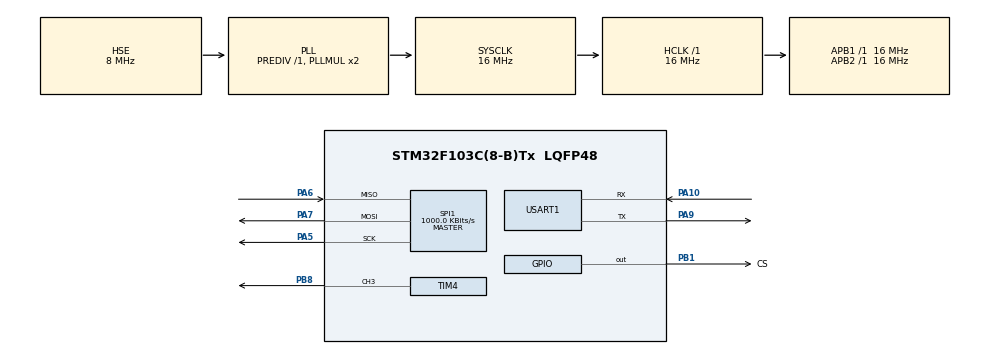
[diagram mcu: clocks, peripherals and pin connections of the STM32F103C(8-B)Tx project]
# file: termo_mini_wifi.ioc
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Mcu.Family=STM32F1
Mcu.Name=STM32F103C(8-B)Tx
Mcu.Package=LQFP48
NVIC.PriorityGroup=NVIC_PRIORITYGROUP_4
NVIC.USART1_IRQn=true\:0\:0\:false\:false\:true\:true\:true\:true
PA10.Mode=Asynchronous
PA10.Signal=USART1_RX
PA13.Mode=Serial_Wire
PA13.Signal=SYS_JTMS-SWDIO
PA14.Mode=Serial_Wire
PA14.Signal=SYS_JTCK-SWCLK
PA5.Mode=Full_Duplex_Master
PA5.Signal=SPI1_SCK
PA6.Mode=Full_Duplex_Master
PA6.Signal=SPI1_MISO
PA7.Mode=Full_Duplex_Master
PA7.Signal=SPI1_MOSI
PA9.Mode=Asynchronous
PA9.Signal=USART1_TX
PB1.GPIO_Label=CS
PB1.GPIO_Speed=GPIO_SPEED_FREQ_HIGH
PB1.PinState=GPIO_PIN_SET
PB1.Signal=GPIO_Output
PB8.Signal=S_TIM4_CH3
PD0-OSC_IN.Mode=HSE-External-Oscillator
PD0-OSC_IN.Signal=RCC_OSC_IN
PD1-OSC_OUT.Mode=HSE-External-Oscillator
PD1-OSC_OUT.Signal=RCC_OSC_OUT
ProjectManager.HeapSize=0x200
ProjectManager.StackSize=0x400
ProjectManager.TargetToolchain=STM32CubeIDE
RCC.AHBFreq_Value=16000000
RCC.APB1Freq_Value=16000000
RCC.APB1TimFreq_Value=16000000
RCC.APB2Freq_Value=16000000
RCC.APB2TimFreq_Value=16000000
RCC.EnbaleCSS=true
RCC.HCLKFreq_Value=16000000
RCC.PLLSourceVirtual=RCC_PLLSOURCE_HSE
RCC.SYSCLKFreq_VALUE=16000000
RCC.SYSCLKSource=RCC_SYSCLKSOURCE_PLLCLK
RCC.USBFreq_Value=16000000
SH.S_TIM4_CH3.0=TIM4_CH3,PWM Generation3 CH3
SPI1.BaudRatePrescaler=SPI_BAUDRATEPRESCALER_16
SPI1.CLKPhase=SPI_PHASE_2EDGE
SPI1.CalculateBaudRate=1000.0 KBits/s
SPI1.Direction=SPI_DIRECTION_2LINES
SPI1.Mode=SPI_MODE_MASTER
SPI1.VirtualType=VM_MASTER
TIM4.AutoReloadPreload=TIM_AUTORELOAD_PRELOAD_ENABLE
TIM4.Channel-PWM\ Generation3\ CH3=TIM_CHANNEL_3
TIM4.Period=4800-1
USART1.VirtualMode=VM_ASYNC
VP_TIM4_VS_ClockSourceINT.Mode=Internal
board=custom

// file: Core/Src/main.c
/* USER CODE BEGIN Header */
/**
 ******************************************************************************
 * @file           : main.c
 * @brief          : Main program body
 ******************************************************************************
 * @attention
 *
 * Copyright (c) 2026 STMicroelectronics.
 * All rights reserved.
 *
 * This software is licensed under terms that can be found in the LICENSE file
 * in the root directory of this software component.
 * If no LICENSE file comes with this software, it is provided AS-IS.
 *
 ******************************************************************************
 */
/* USER CODE END Header */
#include "main.h"
#include "spi.h"
#include "tim.h"
#include "usart.h"
#include "gpio.h"

/* USER CODE BEGIN Includes */
#include <stdio.h>
#include <stdlib.h>
#include <string.h>
#include "max31865.h"
#include "usart_ring.h"
#include "util.h"
/* USER CODE END Includes */

/* USER CODE BEGIN PTD */
typedef struct {
  uint32_t last_run;
  uint32_t interval;
  void (*callback)(void);
} TimerTask;

// Структура для преобразования float числа в массив int8_t
typedef struct {
  int8_t array[3];
} DataNum_t;
/* USER CODE END PTD */

/* USER CODE BEGIN PD */
// Размер массива для приёма данных по UART
#define SIZE_BF 255
// Периодичность (в мс) вызова функции расчёта ПИД регулятора
#define DT 500
// Максимальное количество пар время:температура
#define MAX_PAIRS 20
/* USER CODE END PD */

/* USER CODE BEGIN PV */
extern TIM_HandleTypeDef htim4;
extern UART_HandleTypeDef huart1;

uint8_t reportID = 2;

MAX31865_t hMAX31865 = { .spi = &hspi1, .cs_gpio = CS_GPIO_Port, .cs_pin = CS_Pin };
float temp;

float kp = 50.0f;
float ki = 0.2f;

const float dt = DT / 1000.0f;
float setPoint = 0.0f;            // Целевая температура
float deltaPerCycle = 3.0f * dt;  // Скорость нагрева 2°C/цикл или 4°C/s
int timeCount = 0;
int timeEnd = 0;                  // Конечное время цикла
int cycleCount = 0;               // Счётчик циклов

char str[SIZE_BF];                // Буффер принятых данных по UART
int pairs[MAX_PAIRS][2];          // Массив пар время:температура
int pairСount = 0;                // Текущее количество пар

/* USER CODE END PV */

void SystemClock_Config(void);
/* USER CODE BEGIN PFP */
// Прототип функции задачи ПИД регулятора
static void _task1(void);
// Прототип функции задачи отправки данных по Wi-Fi
static void _task2(void);
// Прототип функции проверки и обработки полученных данных по Wi-Fi
static void _task3(void);
/* USER CODE END PFP */

/* USER CODE BEGIN 0 */
TimerTask tasks[] = { { 0, DT, _task1 }, { 0, 1000, _task2 } };
/* USER CODE END 0 */

int main(void) {

  /* MCU Configuration--------------------------------------------------------*/

  /* Reset of all peripherals, Initializes the Flash interface and the Systick. */
  HAL_Init();

  /* Configure the system clock */
  SystemClock_Config();

  /* Initialize all configured peripherals */
  MX_GPIO_Init();
  MX_USART1_UART_Init();
  MX_SPI1_Init();
  MX_TIM4_Init();
  /* USER CODE BEGIN 2 */
  Max31865_Init(&hMAX31865, MAX31865_2_WIRE);
  __HAL_UART_ENABLE_IT(&MYUART, UART_IT_RXNE);
  /* USER CODE END 2 */

  /* Infinite loop */
  /* USER CODE BEGIN WHILE */
  while (1) {
    uint32_t current = HAL_GetTick();

    for (int i = 0; i < 2; i++) {
      if (current - tasks[i].last_run >= tasks[i].interval) {
        tasks[i].last_run = current;
        tasks[i].callback();
      }
    }

    // Постоянно проверяем кольцевой буффер UART на наличие данных
    if (uart_available()) {
      _task3();
    }

    if (reportID == 1) {
      cycleCount = 0;
      // Данные для запуска получены, начинает обработку
      if (cycleCount < pairСount && cycleCount + 1 <= pairСount) {
        // Расчитываем скорость нагрева
        deltaPerCycle = ((pairs[cycleCount + 1][1] - pairs[cycleCount][1]) / (pairs[cycleCount + 1][0] - pairs[cycleCount][0])) * dt;
        cycleCount = 1;
        // Устанавливаем целевую температуру
        setPoint = pairs[cycleCount][1];
        // Устанавливаем конечное время цикла
        timeEnd = pairs[cycleCount][0];
        // Разрешаем работу нагревателя
        reportID = 3;
      }
    }
    /* USER CODE END WHILE */

  }
}

void SystemClock_Config(void) {
  RCC_OscInitTypeDef RCC_OscInitStruct = { 0 };
  RCC_ClkInitTypeDef RCC_ClkInitStruct = { 0 };

  /** Initializes the RCC Oscillators according to the specified parameters
   * in the RCC_OscInitTypeDef structure.
   */
  RCC_OscInitStruct.OscillatorType = RCC_OSCILLATORTYPE_HSE;
  RCC_OscInitStruct.HSEState = RCC_HSE_ON;
  RCC_OscInitStruct.HSEPredivValue = RCC_HSE_PREDIV_DIV1;
  RCC_OscInitStruct.HSIState = RCC_HSI_ON;
  RCC_OscInitStruct.PLL.PLLState = RCC_PLL_ON;
  RCC_OscInitStruct.PLL.PLLSource = RCC_PLLSOURCE_HSE;
  RCC_OscInitStruct.PLL.PLLMUL = RCC_PLL_MUL2;
  if (HAL_RCC_OscConfig(&RCC_OscInitStruct) != HAL_OK) {
    Error_Handler();
  }

  /** Initializes the CPU, AHB and APB buses clocks
   */
  RCC_ClkInitStruct.ClockType = RCC_CLOCKTYPE_HCLK | RCC_CLOCKTYPE_SYSCLK | RCC_CLOCKTYPE_PCLK1 | RCC_CLOCKTYPE_PCLK2;
  RCC_ClkInitStruct.SYSCLKSource = RCC_SYSCLKSOURCE_PLLCLK;
  RCC_ClkInitStruct.AHBCLKDivider = RCC_SYSCLK_DIV1;
  RCC_ClkInitStruct.APB1CLKDivider = RCC_HCLK_DIV1;
  RCC_ClkInitStruct.APB2CLKDivider = RCC_HCLK_DIV1;

  if (HAL_RCC_ClockConfig(&RCC_ClkInitStruct, FLASH_LATENCY_0) != HAL_OK) {
    Error_Handler();
  }

  /** Enables the Clock Security System
   */
  HAL_RCC_EnableCSS();
}

/* USER CODE BEGIN 4 */
// Функция задачи ПИД регулятора
static void _task1(void) {
  static float deltaTemp = 0.0f;        // Разность между уставкой setPoint и текущй температурой
  static float boostKp = 0.0f;          // На данном участке Kp увеличивается
  static float limitedSetpoint = 0.0f;  // Ограниченная уставка
  static float deltaSetpoint = 0.0f;

  static const float minOut = 0.0f;
  static const float maxOut = 4800.0f;
  //float maxOut = (float) htim4.Init.Period + 1;

  static float errorCurrent = 0.0f;
  static float errorIntegral = 0.0f;

  static float result = 0.0f;

  // Измеряем температуру
  temp = Max31865_ReadTempC(&hMAX31865);

  if (reportID == 3) {
    // Проверяем не вышло ли текущее время за время конца цикла
    if (timeCount >= timeEnd) {
      // Переопределяем данные для следующего цикла
      if (cycleCount < pairСount && cycleCount + 1 <= pairСount) {
        // Расчитываем скорость нагрева
        deltaPerCycle = ((pairs[cycleCount + 1][1] - pairs[cycleCount][1]) / (pairs[cycleCount + 1][0] - pairs[cycleCount][0])) * dt;
        cycleCount++;
        // Устанавливаем целевую температуру
        setPoint = pairs[cycleCount][1];
        // Устанавливаем конечное время цикла
        timeEnd = pairs[cycleCount][0];
        // Разрешаем работу нагревателя
        reportID = 3;
      } else {
        // Циклов больше нет, выключаем нагреватель
        reportID = 2;
      }
    }
    // Проверяем, активен ли выход канала 3, если нет, то запускаем ШИМ
    if ((TIM4->CCER & TIM_CCER_CC3E) == 0) {
      HAL_TIM_PWM_Start(&htim4, TIM_CHANNEL_3);
      limitedSetpoint = temp;  // Начинаем с текущей температуры
    }

    // Вычисляем разность между целевой и ограниченной уставками
    deltaSetpoint = setPoint - limitedSetpoint;

    // Применение ограничения скорости
    if (deltaSetpoint > deltaPerCycle) {
      // Нагревание, с каждым циклом увеличиваем limitedSetpoint на 2°C/цикл
      limitedSetpoint += deltaPerCycle;
    } else if (deltaSetpoint < -deltaPerCycle) {
      // Остывание, с каждым циклом уменьшаем limited_setpoint на 2°C/цикл
      limitedSetpoint -= deltaPerCycle;
    } else {
      // Температура достигла уставки
      limitedSetpoint = setPoint;
    }

    // Вычисление ошибки, разница между уставкой и измеренной температурой
    errorCurrent = limitedSetpoint - temp;

    errorIntegral += errorCurrent * dt * ki;
    // Задаём размер участка на котором Kp увеличивается
    boostKp = setPoint / 5.0f;
    deltaTemp = setPoint - temp;
    if (deltaTemp < boostKp && deltaTemp > 0) {
      // Увеличение коэффициента kp включаем только при приближении к setPoint, снизу
      result = errorCurrent * kp * 2 + errorIntegral;
    } else {
      result = errorCurrent * kp + errorIntegral;
    }

    // Проверяем насыщение выхода
    if (result >= maxOut) {
      result = maxOut;
    } else if (result <= minOut) {
      result = minOut;
    }

    htim4.Instance->CCR3 = (uint16_t) result;
  } else if (reportID == 2) {
    // Проверяем, активен ли выход канала 3, если да, то останавливаем ШИМ
    if (TIM4->CCER & TIM_CCER_CC3E) {
      HAL_TIM_PWM_Stop(&htim4, TIM_CHANNEL_3);
      htim4.Instance->CCR3 = 0;
      errorIntegral = 400.0f;
    }
  }
}
// Функция задачи отправки данных по Wi-Fi
static void _task2(void) {
  static char strFloat[10];       // Строка для преобразованного значения типа float
  static char strOut[10];         // Строка для передачи по UART
  static int strLen = 0;          // Длина передаваемой строки

  // Отправляем измененную температуру и время в секундах, по линии UART
  if (reportID == 3) {
    timeCount++;
  } else if (reportID == 1 || reportID == 2) {
    if (timeCount != 0)
      timeCount = 0;
  }
  // Преобразуем значение температуры (тип float) в строку
  floatToString(strFloat, sizeof(strFloat), temp);
  strLen = snprintf(strOut, sizeof(strOut), "%s %d", strFloat, timeCount);
  HAL_UART_Transmit(&huart1, (uint8_t*) strOut, strLen, 100);
}
// Функция проверки и обработки полученных данных по Wi-Fi
static void _task3(void) {
  uint8_t i = 0;
  // Выполним небольшую задержку, чтобы остатки данных загрузились
  HAL_Delay(20);
  while (uart_available()) {
    str[i++] = uart_read();

    if (i == SIZE_BF - 1)
      break;
  }
  // Все данные получены, завершаем строку
  str[i] = '\0';

  // Начинаем извлекать данные
  if (strlen(str) == 1) {
    reportID = (uint8_t) atoi(str);
  } else {
    // Разбиваем строку на токены по пробелам
    char *token = strtok(str, " ");
    reportID = (uint8_t) atoi(token);
    token = strtok(NULL, " ");
    kp = atof(token);
    token = strtok(NULL, " ");
    ki = atof(token) / 5.0f;
    token = strtok(NULL, " ");

    while (token != NULL) {
      // Проверяем, содержит ли токен двоеточие
      if (strchr(token, ':') != NULL) {
        // Это пара значений
        char time[10], temp[10];

        // Разбиваем по двоеточию
        sscanf(token, "%[^:]:%s", time, temp);

        if (pairСount < MAX_PAIRS) {
          pairs[pairСount][0] = atoi(time);
          pairs[pairСount][1] = atoi(temp);
          pairСount++;
        }
      }

      token = strtok(NULL, " ");
    }
  }
}
/* USER CODE END 4 */

void Error_Handler(void) {
  __disable_irq();
  while (1) {
  }
}
